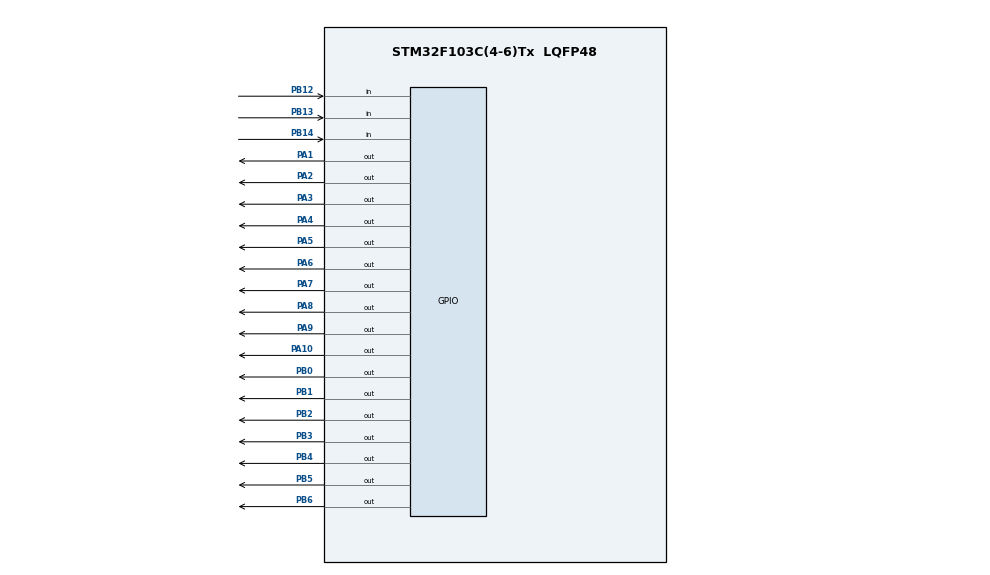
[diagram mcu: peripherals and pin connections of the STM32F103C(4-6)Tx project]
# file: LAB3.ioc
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Mcu.Family=STM32F1
Mcu.Name=STM32F103C(4-6)Tx
Mcu.Package=LQFP48
NVIC.PriorityGroup=NVIC_PRIORITYGROUP_4
NVIC.TIM2_IRQn=true\:0\:0\:false\:false\:true\:true\:true\:true
PA1.PinState=GPIO_PIN_SET
PA1.Signal=GPIO_Output
PA10.PinState=GPIO_PIN_SET
PA10.Signal=GPIO_Output
PA2.PinState=GPIO_PIN_SET
PA2.Signal=GPIO_Output
PA3.PinState=GPIO_PIN_SET
PA3.Signal=GPIO_Output
PA4.PinState=GPIO_PIN_SET
PA4.Signal=GPIO_Output
PA5.PinState=GPIO_PIN_SET
PA5.Signal=GPIO_Output
PA6.PinState=GPIO_PIN_SET
PA6.Signal=GPIO_Output
PA7.PinState=GPIO_PIN_SET
PA7.Signal=GPIO_Output
PA8.PinState=GPIO_PIN_SET
PA8.Signal=GPIO_Output
PA9.PinState=GPIO_PIN_SET
PA9.Signal=GPIO_Output
PB0.PinState=GPIO_PIN_SET
PB0.Signal=GPIO_Output
PB1.PinState=GPIO_PIN_SET
PB1.Signal=GPIO_Output
PB12.GPIO_PuPd=GPIO_PULLUP
PB12.Signal=GPIO_Input
PB13.GPIO_PuPd=GPIO_PULLUP
PB13.Signal=GPIO_Input
PB14.GPIO_PuPd=GPIO_PULLUP
PB14.Signal=GPIO_Input
PB2.PinState=GPIO_PIN_SET
PB2.Signal=GPIO_Output
PB3.PinState=GPIO_PIN_SET
PB3.Signal=GPIO_Output
PB4.PinState=GPIO_PIN_SET
PB4.Signal=GPIO_Output
PB5.PinState=GPIO_PIN_SET
PB5.Signal=GPIO_Output
PB6.PinState=GPIO_PIN_SET
PB6.Signal=GPIO_Output
ProjectManager.HeapSize=0x200
ProjectManager.StackSize=0x400
ProjectManager.TargetToolchain=STM32CubeIDE
RCC.APB1Freq_Value=8000000
RCC.APB2Freq_Value=8000000
TIM2.Period=9
TIM2.Prescaler=7999
VP_TIM2_VS_ClockSourceINT.Mode=Internal
board=custom

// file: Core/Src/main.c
/* USER CODE BEGIN Header */
/**
  ******************************************************************************
  * @file           : main.c
  * @brief          : Main program body
  ******************************************************************************
  * @attention
  *
  * Copyright (c) 2026 STMicroelectronics.
  * All rights reserved.
  *
  * This software is licensed under terms that can be found in the LICENSE file
  * in the root directory of this software component.
  * If no LICENSE file comes with this software, it is provided AS-IS.
  *
  ******************************************************************************
  */
/* USER CODE END Header */
#include "main.h"

/* USER CODE BEGIN Includes */
#include "config.h"
#include "software_timer.h"
#include "input_processing.h"
#include "led.h"
#include "seven_seg.h"
#include "traffic_light.h"
/* USER CODE END Includes */

TIM_HandleTypeDef htim2;

void SystemClock_Config(void);
static void MX_GPIO_Init(void);
static void MX_TIM2_Init(void);

int main(void)
{

  /* MCU Configuration--------------------------------------------------------*/

  /* Reset of all peripherals, Initializes the Flash interface and the Systick. */
  HAL_Init();

  /* Configure the system clock */
  SystemClock_Config();

  /* Initialize all configured peripherals */
  MX_GPIO_Init();
  MX_TIM2_Init();
  /* USER CODE BEGIN 2 */
  traffic_reset();
  timer_set(TIMER_SEVEN_SEG, SEVEN_SEG_SCAN_PERIOD_MS);
  timer_set(TIMER_BLINK, BLINK_TOGGLE_PERIOD_MS);
  /* USER CODE END 2 */

  /* Infinite loop */
  while (1)
  {

    /* USER CODE BEGIN 3 */
	  fsm_for_input_processing();

	  // Every 10 ms: turn on the next 7-segment digit
	  if (timer_is_expired(TIMER_SEVEN_SEG) == 1)
	  {
	      timer_set(TIMER_SEVEN_SEG, SEVEN_SEG_SCAN_PERIOD_MS);
	      scan_seven_seg();
	  }

	  // Every 250 ms: blink the LEDs of the mode color
	  if (timer_is_expired(TIMER_BLINK) == 1)
	  {
	      timer_set(TIMER_BLINK, BLINK_TOGGLE_PERIOD_MS);
	      blink_mode_leds(mode);
	  }
	  // Mode 1, every 1 second: count down and change the lights
	  if (mode == 1 && timer_is_expired(TIMER_SECOND) == 1)
	  {
	      timer_set(TIMER_SECOND, ONE_SECOND_MS);
	      traffic_run();
	  }
  }
  /* USER CODE END 3 */
}

void SystemClock_Config(void)
{
  RCC_OscInitTypeDef RCC_OscInitStruct = {0};
  RCC_ClkInitTypeDef RCC_ClkInitStruct = {0};

  /** Initializes the RCC Oscillators according to the specified parameters
  * in the RCC_OscInitTypeDef structure.
  */
  RCC_OscInitStruct.OscillatorType = RCC_OSCILLATORTYPE_HSI;
  RCC_OscInitStruct.HSIState = RCC_HSI_ON;
  RCC_OscInitStruct.HSICalibrationValue = RCC_HSICALIBRATION_DEFAULT;
  RCC_OscInitStruct.PLL.PLLState = RCC_PLL_NONE;
  if (HAL_RCC_OscConfig(&RCC_OscInitStruct) != HAL_OK)
  {
    Error_Handler();
  }

  /** Initializes the CPU, AHB and APB buses clocks
  */
  RCC_ClkInitStruct.ClockType = RCC_CLOCKTYPE_HCLK|RCC_CLOCKTYPE_SYSCLK
                              |RCC_CLOCKTYPE_PCLK1|RCC_CLOCKTYPE_PCLK2;
  RCC_ClkInitStruct.SYSCLKSource = RCC_SYSCLKSOURCE_HSI;
  RCC_ClkInitStruct.AHBCLKDivider = RCC_SYSCLK_DIV1;
  RCC_ClkInitStruct.APB1CLKDivider = RCC_HCLK_DIV1;
  RCC_ClkInitStruct.APB2CLKDivider = RCC_HCLK_DIV1;

  if (HAL_RCC_ClockConfig(&RCC_ClkInitStruct, FLASH_LATENCY_0) != HAL_OK)
  {
    Error_Handler();
  }
}

static void MX_TIM2_Init(void)
{

  TIM_ClockConfigTypeDef sClockSourceConfig = {0};
  TIM_MasterConfigTypeDef sMasterConfig = {0};

  htim2.Instance = TIM2;
  htim2.Init.Prescaler = 7999;
  htim2.Init.CounterMode = TIM_COUNTERMODE_UP;
  htim2.Init.Period = 9;
  htim2.Init.ClockDivision = TIM_CLOCKDIVISION_DIV1;
  htim2.Init.AutoReloadPreload = TIM_AUTORELOAD_PRELOAD_DISABLE;
  if (HAL_TIM_Base_Init(&htim2) != HAL_OK)
  {
    Error_Handler();
  }
  sClockSourceConfig.ClockSource = TIM_CLOCKSOURCE_INTERNAL;
  if (HAL_TIM_ConfigClockSource(&htim2, &sClockSourceConfig) != HAL_OK)
  {
    Error_Handler();
  }
  sMasterConfig.MasterOutputTrigger = TIM_TRGO_RESET;
  sMasterConfig.MasterSlaveMode = TIM_MASTERSLAVEMODE_DISABLE;
  if (HAL_TIMEx_MasterConfigSynchronization(&htim2, &sMasterConfig) != HAL_OK)
  {
    Error_Handler();
  }
  /* USER CODE BEGIN TIM2_Init 2 */
  HAL_TIM_Base_Start_IT(&htim2);
  /* USER CODE END TIM2_Init 2 */

}

static void MX_GPIO_Init(void)
{
  GPIO_InitTypeDef GPIO_InitStruct = {0};

  /* GPIO Ports Clock Enable */
  __HAL_RCC_GPIOA_CLK_ENABLE();
  __HAL_RCC_GPIOB_CLK_ENABLE();

  /*Configure GPIO pin Output Level */
  HAL_GPIO_WritePin(GPIOA, GPIO_PIN_1|GPIO_PIN_2|GPIO_PIN_3|GPIO_PIN_4
                          |GPIO_PIN_5|GPIO_PIN_6|GPIO_PIN_7|GPIO_PIN_8
                          |GPIO_PIN_9|GPIO_PIN_10, GPIO_PIN_SET);

  /*Configure GPIO pin Output Level */
  HAL_GPIO_WritePin(GPIOB, GPIO_PIN_0|GPIO_PIN_1|GPIO_PIN_2|GPIO_PIN_3
                          |GPIO_PIN_4|GPIO_PIN_5|GPIO_PIN_6, GPIO_PIN_SET);

  /*Configure GPIO pins : PA1 PA2 PA3 PA4
                           PA5 PA6 PA7 PA8
                           PA9 PA10 */
  GPIO_InitStruct.Pin = GPIO_PIN_1|GPIO_PIN_2|GPIO_PIN_3|GPIO_PIN_4
                          |GPIO_PIN_5|GPIO_PIN_6|GPIO_PIN_7|GPIO_PIN_8
                          |GPIO_PIN_9|GPIO_PIN_10;
  GPIO_InitStruct.Mode = GPIO_MODE_OUTPUT_PP;
  GPIO_InitStruct.Pull = GPIO_NOPULL;
  GPIO_InitStruct.Speed = GPIO_SPEED_FREQ_LOW;
  HAL_GPIO_Init(GPIOA, &GPIO_InitStruct);

  /*Configure GPIO pins : PB0 PB1 PB2 PB3
                           PB4 PB5 PB6 */
  GPIO_InitStruct.Pin = GPIO_PIN_0|GPIO_PIN_1|GPIO_PIN_2|GPIO_PIN_3
                          |GPIO_PIN_4|GPIO_PIN_5|GPIO_PIN_6;
  GPIO_InitStruct.Mode = GPIO_MODE_OUTPUT_PP;
  GPIO_InitStruct.Pull = GPIO_NOPULL;
  GPIO_InitStruct.Speed = GPIO_SPEED_FREQ_LOW;
  HAL_GPIO_Init(GPIOB, &GPIO_InitStruct);

  /*Configure GPIO pins : PB12 PB13 PB14 */
  GPIO_InitStruct.Pin = GPIO_PIN_12|GPIO_PIN_13|GPIO_PIN_14;
  GPIO_InitStruct.Mode = GPIO_MODE_INPUT;
  GPIO_InitStruct.Pull = GPIO_PULLUP;
  HAL_GPIO_Init(GPIOB, &GPIO_InitStruct);

}

void Error_Handler(void)
{
  __disable_irq();
  while (1)
  {
  }
}
